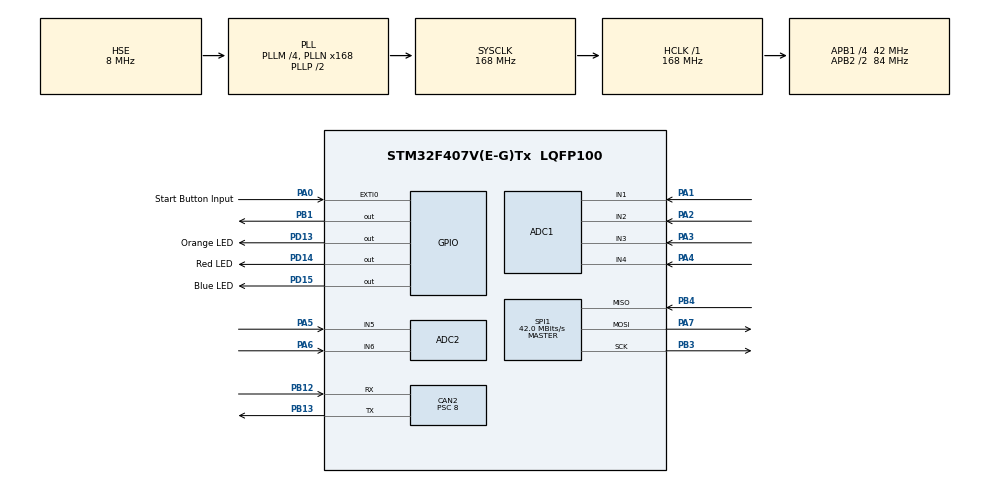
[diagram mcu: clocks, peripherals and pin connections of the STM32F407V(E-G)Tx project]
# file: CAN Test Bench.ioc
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ADC1.Channel-0\#ChannelRegularConversion=ADC_CHANNEL_1
ADC1.Channel-1\#ChannelRegularConversion=ADC_CHANNEL_2
ADC1.Channel-2\#ChannelRegularConversion=ADC_CHANNEL_3
ADC1.Channel-3\#ChannelRegularConversion=ADC_CHANNEL_4
ADC1.ClockPrescaler=ADC_CLOCK_SYNC_PCLK_DIV4
ADC1.ContinuousConvMode=ENABLE
ADC1.DMAContinuousRequests=ENABLE
ADC1.EOCSelection=ADC_EOC_SINGLE_CONV
ADC1.EnableAnalogWatchDog=true
ADC1.HighThreshold=2850
ADC1.ITMode=ENABLE
ADC1.LowThreshold=500
ADC1.NbrOfConversion=4
ADC1.NbrOfConversionFlag=1
ADC1.Rank-0\#ChannelRegularConversion=1
ADC1.Rank-1\#ChannelRegularConversion=2
ADC1.Rank-2\#ChannelRegularConversion=3
ADC1.Rank-3\#ChannelRegularConversion=4
ADC1.SamplingTime-0\#ChannelRegularConversion=ADC_SAMPLETIME_84CYCLES
ADC1.SamplingTime-1\#ChannelRegularConversion=ADC_SAMPLETIME_84CYCLES
ADC1.SamplingTime-2\#ChannelRegularConversion=ADC_SAMPLETIME_84CYCLES
ADC1.SamplingTime-3\#ChannelRegularConversion=ADC_SAMPLETIME_84CYCLES
ADC1.WatchdogMode=ADC_ANALOGWATCHDOG_ALL_REG
ADC1.master=1
ADC2.Channel-4\#ChannelRegularConversion=ADC_CHANNEL_6
ADC2.ClockPrescaler=ADC_CLOCK_SYNC_PCLK_DIV4
ADC2.NbrOfConversionFlag=1
ADC2.Rank-4\#ChannelRegularConversion=1
ADC2.SamplingTime-4\#ChannelRegularConversion=ADC_SAMPLETIME_3CYCLES
CAN2.ABOM=DISABLE
CAN2.BS1=CAN_BS1_12TQ
CAN2.BS2=CAN_BS2_8TQ
CAN2.CalculateBaudRate=250000
CAN2.CalculateTimeBit=4000
CAN2.CalculateTimeQuantum=190.47619047619048
CAN2.Prescaler=8
CAN2.TXFP=ENABLE
Dma.ADC1.0.Direction=DMA_PERIPH_TO_MEMORY
Dma.ADC1.0.FIFOMode=DMA_FIFOMODE_DISABLE
Dma.ADC1.0.Instance=DMA2_Stream0
Dma.ADC1.0.MemDataAlignment=DMA_MDATAALIGN_WORD
Dma.ADC1.0.MemInc=DMA_MINC_ENABLE
Dma.ADC1.0.Mode=DMA_CIRCULAR
Dma.ADC1.0.PeriphDataAlignment=DMA_PDATAALIGN_WORD
Dma.ADC1.0.PeriphInc=DMA_PINC_DISABLE
Dma.ADC1.0.Priority=DMA_PRIORITY_HIGH
Dma.Request0=ADC1
FREERTOS.INCLUDE_eTaskGetState=1
FREERTOS.INCLUDE_pcTaskGetTaskName=1
FREERTOS.INCLUDE_uxTaskGetStackHighWaterMark=1
FREERTOS.INCLUDE_uxTaskGetStackHighWaterMark2=1
FREERTOS.INCLUDE_vTaskCleanUpResources=1
FREERTOS.INCLUDE_vTaskDelayUntil=1
FREERTOS.INCLUDE_xEventGroupSetBitFromISR=1
FREERTOS.INCLUDE_xQueueGetMutexHolder=1
FREERTOS.INCLUDE_xSemaphoreGetMutexHolder=1
FREERTOS.INCLUDE_xTaskAbortDelay=1
FREERTOS.INCLUDE_xTaskGetCurrentTaskHandle=1
FREERTOS.INCLUDE_xTaskGetHandle=1
FREERTOS.INCLUDE_xTimerPendFunctionCall=1
FREERTOS.Tasks01=defaultTask,0,128,StartDefaultTask,Default,NULL,Dynamic,NULL,NULL
FREERTOS.configCHECK_FOR_STACK_OVERFLOW=2
FREERTOS.configENABLE_BACKWARD_COMPATIBILITY=0
FREERTOS.configRECORD_STACK_HIGH_ADDRESS=1
FREERTOS.configUSE_APPLICATION_TASK_TAG=1
FREERTOS.configUSE_COUNTING_SEMAPHORES=1
FREERTOS.configUSE_MALLOC_FAILED_HOOK=1
FREERTOS.configUSE_NEWLIB_REENTRANT=0
FREERTOS.configUSE_TICK_HOOK=1
FREERTOS.configUSE_TIMERS=1
Mcu.Family=STM32F4
Mcu.Name=STM32F407V(E-G)Tx
Mcu.Package=LQFP100
NVIC.CAN2_RX0_IRQn=true\:5\:0\:false\:false\:true\:true\:true\:true\:true
NVIC.CAN2_RX1_IRQn=true\:5\:0\:false\:false\:true\:true\:true\:true\:true
NVIC.CAN2_TX_IRQn=true\:5\:0\:false\:false\:true\:true\:true\:true\:true
NVIC.DMA2_Stream0_IRQn=true\:5\:0\:false\:false\:true\:true\:false\:true\:true
NVIC.EXTI0_IRQn=true\:5\:0\:false\:false\:true\:true\:true\:true\:true
NVIC.PriorityGroup=NVIC_PRIORITYGROUP_4
NVIC.TIM1_UP_TIM10_IRQn=true\:15\:0\:false\:false\:true\:false\:false\:true\:true
NVIC.TimeBase=TIM1_UP_TIM10_IRQn
NVIC.TimeBaseIP=TIM1
PA0-WKUP.GPIO_Label=Start Button Input
PA0-WKUP.GPIO_ModeDefaultEXTI=GPIO_MODE_IT_RISING_FALLING
PA0-WKUP.Signal=GPXTI0
PA1.Signal=ADCx_IN1
PA2.Signal=ADCx_IN2
PA3.Signal=ADCx_IN3
PA4.Signal=ADCx_IN4
PA5.Signal=ADCx_IN5
PA6.Signal=ADCx_IN6
PA7.Mode=Full_Duplex_Master
PA7.Signal=SPI1_MOSI
PB1.Signal=GPIO_Output
PB12.Mode=CAN_Activate
PB12.Signal=CAN2_RX
PB13.Mode=CAN_Activate
PB13.Signal=CAN2_TX
PB3.Mode=Full_Duplex_Master
PB3.Signal=SPI1_SCK
PB4.Mode=Full_Duplex_Master
PB4.Signal=SPI1_MISO
PD13.GPIO_Label=Orange LED
PD13.Signal=GPIO_Output
PD14.GPIO_Label=Red LED
PD14.Signal=GPIO_Output
PD15.GPIO_Label=Blue LED
PD15.Signal=GPIO_Output
PH0-OSC_IN.Mode=HSE-External-Oscillator
PH0-OSC_IN.Signal=RCC_OSC_IN
PH1-OSC_OUT.Mode=HSE-External-Oscillator
PH1-OSC_OUT.Signal=RCC_OSC_OUT
ProjectManager.HeapSize=0x200
ProjectManager.StackSize=0x400
ProjectManager.TargetToolchain=STM32CubeIDE
RCC.48MHZClocksFreq_Value=84000000
RCC.AHBFreq_Value=168000000
RCC.APB1CLKDivider=RCC_HCLK_DIV4
RCC.APB1Freq_Value=42000000
RCC.APB1TimFreq_Value=84000000
RCC.APB2CLKDivider=RCC_HCLK_DIV2
RCC.APB2Freq_Value=84000000
RCC.APB2TimFreq_Value=168000000
RCC.CortexFreq_Value=168000000
RCC.HCLKFreq_Value=168000000
RCC.HSE_VALUE=8000000
RCC.HSI_VALUE=16000000
RCC.LSE_VALUE=32768
RCC.PLLM=4
RCC.PLLN=168
RCC.PLLSourceVirtual=RCC_PLLSOURCE_HSE
RCC.SYSCLKFreq_VALUE=168000000
RCC.SYSCLKSource=RCC_SYSCLKSOURCE_PLLCLK
RCC.VCOOutputFreq_Value=336000000
SH.ADCx_IN1.0=ADC1_IN1,IN1
SH.ADCx_IN2.0=ADC1_IN2,IN2
SH.ADCx_IN3.0=ADC1_IN3,IN3
SH.ADCx_IN4.0=ADC1_IN4,IN4
SH.ADCx_IN5.0=ADC2_IN5,IN5
SH.ADCx_IN6.0=ADC2_IN6,IN6
SPI1.CalculateBaudRate=42.0 MBits/s
SPI1.Direction=SPI_DIRECTION_2LINES
SPI1.Mode=SPI_MODE_MASTER
SPI1.VirtualType=VM_MASTER
TIM3.AutoReloadPreload=TIM_AUTORELOAD_PRELOAD_DISABLE
TIM3.ClockDivision=TIM_CLOCKDIVISION_DIV4
TIM3.Period=99
TIM3.Prescaler=41999
TIM3.TIM_MasterOutputTrigger=TIM_TRGO_UPDATE
VP_FREERTOS_VS_CMSIS_V1.Mode=CMSIS_V1
VP_SYS_VS_tim1.Mode=TIM1
VP_TIM3_VS_ClockSourceINT.Mode=Internal
board=custom

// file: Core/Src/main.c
/* USER CODE BEGIN Header */
/**
  ******************************************************************************
  * @file           : main.c
  * @brief          : Main program body
  ******************************************************************************
  * @attention
  *
  * Copyright (c) 2023 STMicroelectronics.
  * All rights reserved.
  *
  * This software is licensed under terms that can be found in the LICENSE file
  * in the root directory of this software component.
  * If no LICENSE file comes with this software, it is provided AS-IS.
  *
  ******************************************************************************
  */
/* USER CODE END Header */
#include "main.h"
#include "cmsis_os.h"
#include "adc.h"
#include "can.h"
#include "dma.h"
#include "spi.h"
#include "tim.h"
#include "gpio.h"

/* USER CODE BEGIN Includes */

// The CAN info is defined in constants

#include "constants.h"
#include "bms.h"
#include "dash.h"
#include "imd.h"
#include "motor_controller.h"
#include "pdu.h"

/* USER CODE END Includes */

/* USER CODE BEGIN PD */
#define DEBUG_CAN_IN_MAIN 0
/* USER CODE END PD */

/* USER CODE BEGIN PV */
volatile uint32_t adc_buf1[ADC1_BUF_LEN]; // ADC1 - high priority readings

uint16_t adc1_APPS1; //These are the locations for the sensor inputs for APPS and BPS
uint16_t adc1_APPS2;
uint16_t adc1_BPS1;
uint16_t adc1_BPS2;

volatile uint32_t adc_buf2[ADC2_BUF_LEN]; // ADC2 - lower priority readings
uint16_t adc2_CoolantTemp;
uint16_t adc2_CoolantFlow;

//int adc_conv_complete_flag = 0;

//State of da vehicle
//enum uv_vehicle_state_t vehicle_state = UV_INIT; //TODO: Define new state machine logic

/* USER CODE END PV */

void SystemClock_Config(void);
void MX_FREERTOS_Init(void);

int main(void)
{

  /* MCU Configuration--------------------------------------------------------*/

  /* Reset of all peripherals, Initializes the Flash interface and the Systick. */
  HAL_Init();

  /* USER CODE BEGIN Init */
  // The CAN clock must be enabled
  __HAL_RCC_CAN2_CLK_ENABLE();
  /* USER CODE END Init */

  /* Configure the system clock */
  SystemClock_Config();

  /* Initialize all configured peripherals */
  MX_GPIO_Init();
  MX_DMA_Init();
  MX_CAN2_Init();
  MX_ADC1_Init();
  MX_ADC2_Init();
  MX_TIM3_Init();
  MX_SPI1_Init();
  /* USER CODE BEGIN 2 */
  //HAL_ADC_Start_DMA(&hadc1, (uint32_t*)adc_buf1, ADC1_BUF_LEN);
  //HAL_TIM_Base_Start_IT(&htim3); This is getting disabled, since measuring temp will now be an RTOS task
   // Just to prove we reached this point in the code

  //ANYTHING WE NEED TO DO BEFORE THE KERNEL TAKES OVER SHOULD HAPPEN HERE:

  //HAL_NVIC_PriorityGroupConfig( NVIC_PRIORITYGROUP_4 ); ///< This one is a fun function to do some NVIC tomfoolery because we need to
#if DEBUG_CAN_IN_MAIN
  while(1){
	  HAL_GPIO_TogglePin(GPIOD,GPIO_PIN_14);
	  TxData[0] = 0b10101010;
	  TxData[1] = 0b10101010;
	  TxData[2] = 0b10101010;
	  TxData[3] = 1;
	  TxData[4] = 2;
	  TxData[5] = 3;
	  TxData[6] = 0b10101010;
	  TxData[7] = 0b10101010;

	  HAL_StatusTypeDef can_send_status;

	  					//vTaskDelay(400);

	  HAL_Delay(200);

	  TxHeader.IDE = CAN_ID_EXT;
	  TxHeader.ExtId = 0x1234;

	  TxHeader.DLC = 8;

	  //No need for a critical section when we out here in main without a scheduler running :)
	  //taskENTER_CRITICAL();
	  can_send_status = HAL_CAN_AddTxMessage(&hcan2, &TxHeader, TxData, &TxMailbox);
	  //taskEXIT_CRITICAL();

	  if (can_send_status != HAL_OK){
	  													/* Transmission request Error */
	  						//uvPanic("Unable to Transmit CAN msg",can_send_status);
	  		handleCANbusError(&hcan2, 0);
	  }

  }
#endif
  /* USER CODE END 2 */

  /* Call init function for freertos objects (in cmsis_os2.c) */
  MX_FREERTOS_Init();

  /* Start scheduler */
  osKernelStart();

  /* We should never get here as control is now taken by the scheduler */

  /* Infinite loop */
  /* USER CODE BEGIN WHILE */

    //Update_Batt_Temp(69); // temp debugging

  while (1) //we should deadass never reach this point in the code lol
  {
	  // For debugging purposes
	  HAL_GPIO_TogglePin(GPIOD,GPIO_PIN_13);

	  // into string and store in dma_result_buffer character array
	  Update_RPM(adc1_APPS1);
	  HAL_Delay(1000);
	  Update_RPM(adc1_APPS2);
	  HAL_Delay(1000);

    /* USER CODE END WHILE */

  }
}

void SystemClock_Config(void)
{
  RCC_OscInitTypeDef RCC_OscInitStruct = {0};
  RCC_ClkInitTypeDef RCC_ClkInitStruct = {0};

  /** Configure the main internal regulator output voltage
  */
  __HAL_RCC_PWR_CLK_ENABLE();
  __HAL_PWR_VOLTAGESCALING_CONFIG(PWR_REGULATOR_VOLTAGE_SCALE1);

  /** Initializes the RCC Oscillators according to the specified parameters
  * in the RCC_OscInitTypeDef structure.
  */
  RCC_OscInitStruct.OscillatorType = RCC_OSCILLATORTYPE_HSE;
  RCC_OscInitStruct.HSEState = RCC_HSE_ON;
  RCC_OscInitStruct.PLL.PLLState = RCC_PLL_ON;
  RCC_OscInitStruct.PLL.PLLSource = RCC_PLLSOURCE_HSE;
  RCC_OscInitStruct.PLL.PLLM = 4;
  RCC_OscInitStruct.PLL.PLLN = 168;
  RCC_OscInitStruct.PLL.PLLP = RCC_PLLP_DIV2;
  RCC_OscInitStruct.PLL.PLLQ = 4;
  if (HAL_RCC_OscConfig(&RCC_OscInitStruct) != HAL_OK)
  {
    Error_Handler();
  }

  /** Initializes the CPU, AHB and APB buses clocks
  */
  RCC_ClkInitStruct.ClockType = RCC_CLOCKTYPE_HCLK|RCC_CLOCKTYPE_SYSCLK
                              |RCC_CLOCKTYPE_PCLK1|RCC_CLOCKTYPE_PCLK2;
  RCC_ClkInitStruct.SYSCLKSource = RCC_SYSCLKSOURCE_PLLCLK;
  RCC_ClkInitStruct.AHBCLKDivider = RCC_SYSCLK_DIV1;
  RCC_ClkInitStruct.APB1CLKDivider = RCC_HCLK_DIV4;
  RCC_ClkInitStruct.APB2CLKDivider = RCC_HCLK_DIV2;

  if (HAL_RCC_ClockConfig(&RCC_ClkInitStruct, FLASH_LATENCY_5) != HAL_OK)
  {
    Error_Handler();
  }
}

/* USER CODE BEGIN 4 */
// called when timer 3 period elapsed
//void HAL_TIM_PeriodElapsedCallback(TIM_HandleTypeDef *htim){
//
//	// check that timer 3 created the interrupt
//	if (htim == &htim3){
//
//		// start a single round of ADC2 conversions
//		HAL_ADC_Start_DMA(&hadc2, (uint32_t*)adc_buf2, ADC2_BUF_LEN);
//
//		// restart timer
//		HAL_TIM_Base_Start_IT(&htim3);
//	}
//}

// Called when adc dma buffer is completely filled
void HAL_ADC_ConvCpltCallback(ADC_HandleTypeDef* hadc) {
  // Could toggle an LED here
	if(hadc->Instance == ADC1){ //TODO: Fix this so it is RTOS compatible
		adc1_APPS1 = 0;
		adc1_APPS2 = 0;
		adc1_BPS1 = 0;
		adc1_BPS2 = 0;

		//Hmmm this should honestly probably be a 16 bit type but aint nobody got time for dat
		uint32_t* buf1_pointer = adc_buf1;

		for(int i = 0; i < ADC1_SAMPLES; i++){ //BUG: pointer incremented by one rather than the length of the datatype
			adc1_APPS1 += *buf1_pointer++;
			adc1_APPS2 += *buf1_pointer++;
			adc1_BPS1 += *buf1_pointer++;
			adc1_BPS2 += *buf1_pointer++;
		}

		//The above code is actually even worse than I originally suspected. Seriously, WTF. If multiple writes occur, then they get summed,
		//Rather than initial writes getting overwritten by newer ones. UNDEFINED BEHAVIOR!

		// calculate APPS fraction travelled (see spreadsheet for equation derivation)
		// Byron here: I want these constants to be TUNABLE, this will need some debugging in the future
		adc1_APPS1 = 0.8082*adc1_APPS1 - 0.3709;
		adc1_APPS2 = 0.8405*adc1_APPS2 - 0.8747;

		// APPS1 & APPS2 plausibility check
			// suspend if error persists for 100 ms
		if((adc1_APPS1-adc1_APPS2)>0.1 || (adc1_APPS1-adc1_APPS2)<-0.1){
			//START TIMER FOR APPS IMPLAUSIBILITY
		}

		// APPS & BPS plausibility check
			// immediate suspend if error occurs
		if(((adc1_APPS1 > 0.25)||(adc1_APPS2 > 0.25))&&((adc1_BPS1 > 69)||(adc1_BPS2 > 69))){
			// checking for hard brake + accel
			// if found, enter suspend
		}
	}
	if (hadc->Instance == ADC2){
		adc2_CoolantTemp = adc_buf2[0];
		adc2_CoolantFlow = adc_buf2[1];
	}
}

// EXTI gpio pin a0 External Interrupt ISR Handler
void HAL_GPIO_EXTI_Callback(uint16_t GPIO_Pin)
{
    if(GPIO_Pin == GPIO_PIN_0) // If The INT Source Is EXTI Line0 (A0 Pin)
    {
//ready_to_drive = 1;
    }
}

// Analog Watchdog Out-of-Range handler, ADC conversion values range from 0 to 4095
void HAL_ADC_LevelOutOfWindowCallback(ADC_HandleTypeDef* hadc){
	if(hadc->Instance == ADC1){
		// triggered for voltages below 0.5V (below 400) or above 4.5V (above 3674)
		HAL_GPIO_WritePin(Red_LED_GPIO_Port,Red_LED_Pin, GPIO_PIN_SET);
		HAL_ADC_Stop_DMA(&hadc1);
		adc1_APPS1 = 0;
		adc1_APPS2 = 0;
	}
	if(hadc->Instance == ADC2){
		// handle coolant sensors short error
	}
}

/* USER CODE END 4 */

void HAL_TIM_PeriodElapsedCallback(TIM_HandleTypeDef *htim)
{
  if (htim->Instance == TIM1) {
    HAL_IncTick();
  }
  /* USER CODE BEGIN Callback 1 */
  if (htim == &htim3){

  		// start a single round of ADC2 conversions
  		HAL_ADC_Start_DMA(&hadc2, (uint32_t*)adc_buf2, ADC2_BUF_LEN);

  		// restart timer
  		HAL_TIM_Base_Start_IT(&htim3);
  	}
  /* USER CODE END Callback 1 */
}

void Error_Handler(void)
{
  /* USER CODE BEGIN Error_Handler_Debug */
	HAL_GPIO_TogglePin(GPIOD,GPIO_PIN_12); //Me when the error is not being handled
  /* User can add his own implementation to report the HAL error return state */
  __disable_irq();
  while (1)
  {
  }
  /* USER CODE END Error_Handler_Debug */
}

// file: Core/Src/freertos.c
/* USER CODE BEGIN Header */
/**
  ******************************************************************************
  * File Name          : freertos.c
  * Description        : Code for freertos applications
  ******************************************************************************
  * @attention
  *
  * Copyright (c) 2024 STMicroelectronics.
  * All rights reserved.
  *
  * This software is licensed under terms that can be found in the LICENSE file
  * in the root directory of this software component.
  * If no LICENSE file comes with this software, it is provided AS-IS.
  *
  ******************************************************************************
  */
/* USER CODE END Header */

#include "FreeRTOS.h"
#include "task.h"
#include "main.h"
#include "cmsis_os.h"

/* USER CODE BEGIN Includes */
#include "uvfr_utils.h"
/* USER CODE END Includes */

/* USER CODE BEGIN Variables */
uv_init_struct init_settings;

TaskHandle_t init_task_handle;
/* USER CODE END Variables */
osThreadId defaultTaskHandle;

void StartDefaultTask(void const * argument);

void MX_FREERTOS_Init(void); /* (MISRA C 2004 rule 8.1) */

/* GetIdleTaskMemory prototype (linked to static allocation support) */
void vApplicationGetIdleTaskMemory( StaticTask_t **ppxIdleTaskTCBBuffer, StackType_t **ppxIdleTaskStackBuffer, uint32_t *pulIdleTaskStackSize );

/* GetTimerTaskMemory prototype (linked to static allocation support) */
void vApplicationGetTimerTaskMemory( StaticTask_t **ppxTimerTaskTCBBuffer, StackType_t **ppxTimerTaskStackBuffer, uint32_t *pulTimerTaskStackSize );

/* Hook prototypes */
void vApplicationTickHook(void);
void vApplicationStackOverflowHook(TaskHandle_t xTask, signed char *pcTaskName);
void vApplicationMallocFailedHook(void);

/* USER CODE BEGIN 3 */
__weak void vApplicationTickHook( void )
{
   /* This function will be called by each tick interrupt if
   configUSE_TICK_HOOK is set to 1 in FreeRTOSConfig.h. User code can be
   added here, but the tick hook is called from an interrupt context, so
   code must not attempt to block, and only the interrupt safe FreeRTOS API
   functions can be used (those that end in FromISR()). */

}
/* USER CODE END 3 */

/* USER CODE BEGIN 4 */
__weak void vApplicationStackOverflowHook(TaskHandle_t xTask, signed char *pcTaskName)
{
   /* Run time stack overflow checking is performed if
   configCHECK_FOR_STACK_OVERFLOW is defined to 1 or 2. This hook function is
   called if a stack overflow is detected. */
	while(1){
		//THIS IS VERY MUCH NOT GOOD. BIG SUCK
		//double plus ungood

	}
}

void vApplicationIdleHook( void ){
	int i = 0;
	i++;
}
/* USER CODE END 4 */

/* USER CODE BEGIN 5 */
__weak void vApplicationMallocFailedHook(void)
{
   /* vApplicationMallocFailedHook() will only be called if
   configUSE_MALLOC_FAILED_HOOK is set to 1 in FreeRTOSConfig.h. It is a hook
   function that will get called if a call to pvPortMalloc() fails.
   pvPortMalloc() is called internally by the kernel whenever a task, queue,
   timer or semaphore is created. It is also called by various parts of the
   demo application. If heap_1.c or heap_2.c are used, then the size of the
   heap available to pvPortMalloc() is defined by configTOTAL_HEAP_SIZE in
   FreeRTOSConfig.h, and the xPortGetFreeHeapSize() API function can be used
   to query the size of free heap space that remains (although it does not
   provide information on how the remaining heap might be fragmented). */
	while(1){
			//THIS IS VERY MUCH NOT GOOD. BIG SUCK
			//double plus ungood

	}
}
/* USER CODE END 5 */

/* USER CODE BEGIN GET_IDLE_TASK_MEMORY */
static StaticTask_t xIdleTaskTCBBuffer;
static StackType_t xIdleStack[configMINIMAL_STACK_SIZE];

void vApplicationGetIdleTaskMemory( StaticTask_t **ppxIdleTaskTCBBuffer, StackType_t **ppxIdleTaskStackBuffer, uint32_t *pulIdleTaskStackSize )
{
  *ppxIdleTaskTCBBuffer = &xIdleTaskTCBBuffer;
  *ppxIdleTaskStackBuffer = &xIdleStack[0];
  *pulIdleTaskStackSize = configMINIMAL_STACK_SIZE;
  /* place for user code */
}
/* USER CODE END GET_IDLE_TASK_MEMORY */

/* USER CODE BEGIN GET_TIMER_TASK_MEMORY */

static StaticTask_t xTimerTaskTCBBuffer;
static StackType_t xTimerStack[configTIMER_TASK_STACK_DEPTH];

void vApplicationGetTimerTaskMemory( StaticTask_t **ppxTimerTaskTCBBuffer, StackType_t **ppxTimerTaskStackBuffer, uint32_t *pulTimerTaskStackSize )
{
  *ppxTimerTaskTCBBuffer = &xTimerTaskTCBBuffer;
  *ppxTimerTaskStackBuffer = &xTimerStack[0];
  *pulTimerTaskStackSize = configTIMER_TASK_STACK_DEPTH;
  /* place for user code */
}
/* USER CODE END GET_TIMER_TASK_MEMORY */

void MX_FREERTOS_Init(void) {
  /* USER CODE BEGIN Init */
	init_settings.use_default_settings = true;
  /* USER CODE END Init */

  /* USER CODE BEGIN RTOS_QUEUES */
  /* add queues, ... */
	//EVIL GOTO HACK - DO NOT TOUCH
	/**@attention DONT YOU FUCKING DARE DELETE THESE GOTO STATEMENTS, THEY ARE CRITICAL TO STOP THE OS FROM HANGING ITSELF */
	goto MX_FREERTOS_INIT_IGNORE_CMSIS;
  /* USER CODE END RTOS_QUEUES */

  /* Create the thread(s) */
  /* definition and creation of defaultTask */
  osThreadDef(defaultTask, StartDefaultTask, osPriorityNormal, 0, 128);
  defaultTaskHandle = osThreadCreate(osThread(defaultTask), NULL);

  /* USER CODE BEGIN RTOS_THREADS */
  /* add threads, ... */
  MX_FREERTOS_INIT_IGNORE_CMSIS:

  BaseType_t x_task_return = xTaskCreate(uvInit,"init",512,&init_settings,osPriorityNormal,&init_task_handle);
  if(x_task_return != pdPASS){
	  while(1){
		  //Program hangs itself, like bro, we couldnt even create the INITIALISATION task, thats fucked
	  }
  }
  /* USER CODE END RTOS_THREADS */

}

/* USER CODE BEGIN Header_StartDefaultTask */
/**
  * @brief  Function implementing the defaultTask thread.
  * @attention DO NOT EVER CALL THIS. IT EXISTS TO STOP A COMPILER ERROR IN THE MX_FREERTOS_INIT FUNCTION
  */
/* USER CODE END Header_StartDefaultTask */
void StartDefaultTask(void const * argument)
{
  for(;;)
  {
    osDelay(1);
  }
}
